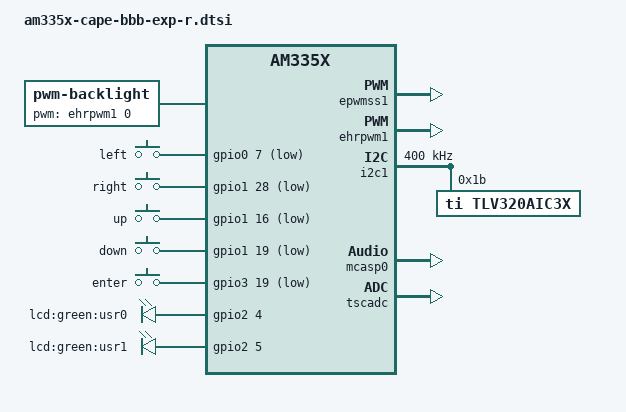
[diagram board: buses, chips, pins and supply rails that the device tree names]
// SPDX-License-Identifier: GPL-2.0-only
/*
 * Copyright (C) 2012 Texas Instruments Incorporated - https://www.ti.com/
 */

#include <dt-bindings/board/am335x-bbw-bbb-base.h>

#include "am335x-peripheral-can0.dtsi"
#include "am335x-bone-pinmux-can0.dtsi"

#include "am335x-peripheral-ttyS1.dtsi"
#include "am335x-bone-pinmux-ttyS1.dtsi"

#include "am335x-peripheral-ttyS2.dtsi"
#include "am335x-bone-pinmux-ttyS2.dtsi"

#include "am335x-peripheral-ttyS4.dtsi"
#include "am335x-bone-pinmux-ttyS4.dtsi"

&am33xx_pinmux {
	user_leds_s1: user_leds_s1 {
		pinctrl-single,pins = <
			0x98 0x7	/* gpmc_wen.gpio2_4, OUTPUT | MODE7 */
			0x9c 0x7	/* gpmc_ben0_cle.gpio2_5, OUTPUT | MODE7 */
		>;
	};

	bb_lcd_pwm_backlight_pins: pinmux_bb_lcd_pwm_backlight_pins {
		pinctrl-single,pins = <
			BONE_P9_14 (PIN_OUTPUT_PULLDOWN | MUX_MODE6) /* gpmc_a2.ehrpwm1a */
		>;
	};

	keymap3_pins: pinmux_keymap3_pins {
		pinctrl-single,pins = <
			0x040 0x2f	/* KEY_UP gpmc_a0.gpio1_16, INPUT | PULLDIS | MODE7 */
			0x04c 0x2f	/* KEY_DOWN gpmc_a3.gpio1_19, INPUT | PULLDIS | MODE7 */
			0x078 0x2f	/* KEY_RIGHT gpmc_ben1.gpio1_28, INPUT | PULLDIS | MODE7 */
			0x164 0x2f	/* KEY_LEFT ecap0_in_pwm0_out.gpio0_7, INPUT | PULLDIS | MODE7 */
			0x1a4 0x2f	/* KEY_ENTER mcasp0_fxr.gpio3_19, INPUT | PULLDIS | MODE7 */
		>;
	};

	i2c1_pins: pinmux_i2c1_pins {
		pinctrl-single,pins = <
			/* spi0_d1.i2c1_sda, SLEWCTRL_SLOW | INPUT_PULLUP | MODE2 */
			BONE_P9_18 (PIN_INPUT_PULLUP | SLEWCTRL_FAST | MUX_MODE2)
			/* spi0_cs0.i2c1_scl, SLEWCTRL_SLOW | INPUT_PULLUP | MODE2 */
			BONE_P9_17 (PIN_INPUT_PULLUP | SLEWCTRL_FAST | MUX_MODE2)
		>;
	};

	mcasp0_pins: pinmux_mcasp0_pins {
		pinctrl-single,pins = <
			0x190 0x20      /* mcasp0_aclkx.mcasp0_aclkx, INPUT | MODE0 */
			0x194 0x20      /* mcasp0_fsx.mcasp0_fsx, INPUT | MODE0 */
			0x198 0x20      /* mcasp0_axr0.mcasp0_axr0, INPUT | MODE0 */
			0x19c 0x22      /* mcasp0_ahclkr.mcasp0_axr2, INPUT | MODE2 */
		>;
	};
};

&epwmss1 {
	status = "okay";
};


&ehrpwm1 {
	pinctrl-names = "default";
	pinctrl-0 = <&bb_lcd_pwm_backlight_pins>;
	status = "okay";
};

&i2c1 {
	status = "okay";
	pinctrl-names = "default";
	pinctrl-0 = <&i2c1_pins>;
	clock-frequency = <400000>;

	tlv320aic3x: tlv320aic3x@1b {
		compatible = "ti,tlv320aic3x";
		reg = <0x1b>;
		status = "okay";
	};
};

&mcasp0 {
	pinctrl-names = "default";
	pinctrl-0 = <&mcasp0_pins>;

	status = "okay";

	op-mode = <0>;          /* MCASP_IIS_MODE */
	tdm-slots = <2>;
	num-serializer = <16>;
	serial-dir = <  /* 0: INACTIVE, 1: TX, 2: RX */
		1 0 2 0
		0 0 0 0
		0 0 0 0
		0 0 0 0
	>;
	tx-num-evt = <1>;
	rx-num-evt = <1>;
};

&tscadc {
	status = "okay";
	tsc {
		ti,wires = <4>;
		ti,x-plate-resistance = <200>;
		ti,coordinate-readouts = <5>;
		ti,wire-config = <0x00 0x11 0x22 0x33>;
	};

	adc {
		ti,adc-channels = <4 5 6 7>;
	};
};

/ {
	backlight {
		status = "okay";
		compatible = "pwm-backlight";
		pwms = <&ehrpwm1 0 50000 0>;
		brightness-levels = <0 51 53 56 62 75 101 152 255>;
		default-brightness-level = <8>;
	};

	gpio_keys {
		compatible = "gpio-keys";
		pinctrl-names = "default";
		pinctrl-0 = <&keymap3_pins>;

		#address-cells = <1>;
		#size-cells = <0>;

		button@1 {
			debounce_interval = <50>;
			linux,code = <105>;
			label = "left";
			gpios = <&gpio0 7 0x1>;
			gpio-key,wakeup;
			autorepeat;
		};
		button@2 {
			debounce_interval = <50>;
			linux,code = <106>;
			label = "right";
			gpios = <&gpio1 28 0x1>;
			gpio-key,wakeup;
			autorepeat;
		};
		button@3 {
			debounce_interval = <50>;
			linux,code = <103>;
			label = "up";
			gpios = <&gpio1 16 0x1>;
			gpio-key,wakeup;
			autorepeat;
		};
		button@4 {
			debounce_interval = <50>;
			linux,code = <108>;
			label = "down";
			gpios = <&gpio1 19 0x1>;
			gpio-key,wakeup;
			autorepeat;
		};
		button@5 {
			debounce_interval = <50>;
			linux,code = <28>;
			label = "enter";
			gpios = <&gpio3 19 0x1>;
			gpio-key,wakeup;
		};
	};

	gpio-leds-cape-lcd {
		compatible = "gpio-leds";
		pinctrl-names = "default";

		pinctrl-0 = <&user_leds_s1>;

		lcd-led0 {
			label = "lcd:green:usr0";
			gpios = <&gpio2 4 0>;
			linux,default-trigger = "heartbeat";
			default-state = "off";
		};

		lcd-led1 {
			label = "lcd:green:usr1";
			gpios = <&gpio2 5 0>;
			linux,default-trigger = "mmc0";
			default-state = "off";
		};
	};

	sound {
		compatible = "ti,da830-evm-audio";
		ti,model = "DA830 EVM";
		ti,audio-codec = <&tlv320aic3x>;
		ti,mcasp-controller = <&mcasp0>;
		ti,codec-clock-rate = <12000000>;
		ti,audio-routing =
			"Headphone Jack",       "HPLOUT",
			"Headphone Jack",       "HPROUT",
			"MIC3L",                "Mic Jack",
			"MIC3R",                "Mic Jack";
	};
};

#include "am335x-peripheral-panel-1024x600-24bit.dtsi"
#include "am335x-bone-pinmux-panel-1024x600-24bit.dtsi"
